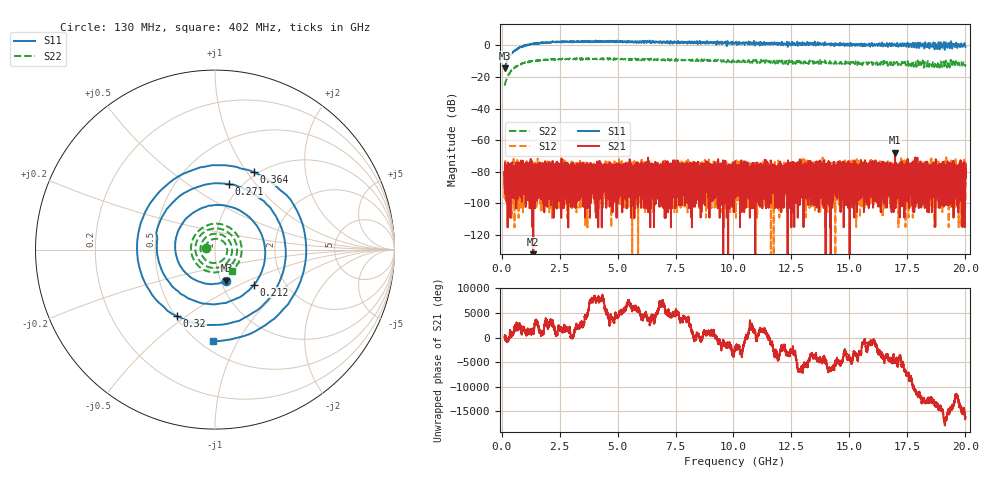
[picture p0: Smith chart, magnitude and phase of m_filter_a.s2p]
!Created with skrf (http://scikit-rf.org).
# GHz S RI R 50.0
!freq ReS11 ImS11 ReS21 ImS21 ReS12 ImS12 ReS22 ImS22
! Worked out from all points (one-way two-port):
!   20013 points, 130 MHz to 20 GHz, reference 50 ohm
!   highest |S21| = -67.84 dB at 16.97 GHz (marker M1); lowest = -178.5 dB at 1.363 GHz (marker M2)
!   lowest |S11| = -14.7 dB at 130 MHz (marker M3), VSWR 1.45, Z = 53.3 - j19.1 ohm
!   |S11| at or under -10 dB: start of sweep to 239.2 MHz
!   |S22| runs from -25.5 to -8.2 dB; largest |S21 - S12| = 0.00054
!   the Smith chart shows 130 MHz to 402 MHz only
!   S11 on the Smith chart (normalised r, x): 130 MHz: 1.07, -0.38; 212 MHz: 1.41, -0.60; 271 MHz: 0.88, +0.74; 320 MHz: 0.51, -0.46; 364 MHz: 0.96, +1.08; 402 MHz: 0.58, -0.79
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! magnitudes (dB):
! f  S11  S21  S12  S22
! 130 MHz  -14.7  -82.0  -84.1  -25.5
! 212 MHz  -10.7  -89.5  -88.1  -21.5
! 271 MHz  -8.6  -89.6  -86.7  -19.5
! 320 MHz  -7.4  -87.2  -78.9  -18.1
! 364 MHz  -6.3  -78.6  -86.0  -17.2
! 402 MHz  -5.9  -86.6  -81.9  -16.4
! 807 MHz  -1.1  -94.3  -81.9  -11.9
! 1.363 GHz  0.9  -178.5  -82.8  -10.0
! 3.442 GHz  2.7  -85.5  -79.8  -8.5
! 6.754 GHz  1.8  -86.8  -82.3  -9.1
! 10.06 GHz  1.7  -82.4  -101.0  -10.0
! 13.38 GHz  0.6  -82.0  -96.8  -10.3
! 16.69 GHz  0.5  -76.3  -90.8  -11.2
! 16.97 GHz  0.3  -67.8  -77.5  -11.8
! 18.11 GHz  -0.8  -80.6  -77.7  -13.5
! 18.72 GHz  0.3  -77.5  -84.8  -11.0
! 19.43 GHz  -2.1  -86.7  -87.2  -13.7
! 19.48 GHz  0.8  -73.0  -83.0  -10.2
! 19.53 GHz  -0.5  -83.1  -81.2  -13.4
! 19.59 GHz  1.3  -81.8  -77.5  -10.2
! 19.85 GHz  -0.2  -80.2  -78.3  -11.7
! 20 GHz  -1.1  -81.9  -78.0  -12.7
